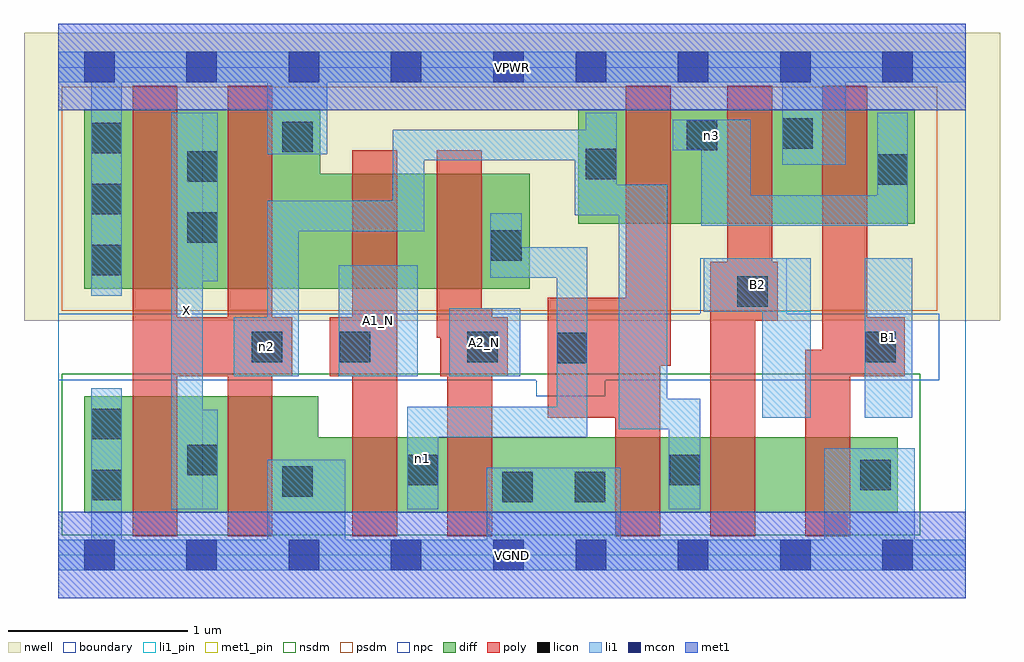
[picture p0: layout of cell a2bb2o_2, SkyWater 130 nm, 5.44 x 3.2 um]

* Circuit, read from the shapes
.subckt a2bb2o_2 A1_N A2_N B1 B2 VGND VPWR X n1 n2 n3
XM1 X n2 VGND VSUBS sky130_fd_pr__nfet_01v8 w=0.65 l=0.25 m=2
XM2 n1 A1_N VGND VSUBS sky130_fd_pr__nfet_01v8 w=0.42 l=0.25
XM3 VGND A2_N n1 VSUBS sky130_fd_pr__nfet_01v8 w=0.42 l=0.25
XM4 n2 n1 VGND VSUBS sky130_fd_pr__nfet_01v8 w=0.42 l=0.25
XM5 n4 B2 n2 VSUBS sky130_fd_pr__nfet_01v8 w=0.42 l=0.25
XM6 VGND B1 n4 VSUBS sky130_fd_pr__nfet_01v8 w=0.42 l=0.25
XM7 X n2 VPWR n5 sky130_fd_pr__pfet_01v8 w=1 l=0.25 m=2
XM8 n6 A1_N VPWR n5 sky130_fd_pr__pfet_01v8 w=0.64 l=0.25
XM9 n1 A2_N n6 n5 sky130_fd_pr__pfet_01v8 w=0.64 l=0.25
XM10 n3 n1 n2 n5 sky130_fd_pr__pfet_01v8 w=0.64 l=0.25
XM11 VPWR B2 n3 n5 sky130_fd_pr__pfet_01v8 w=0.64 l=0.25
XM12 n3 B1 VPWR n5 sky130_fd_pr__pfet_01v8 w=0.64 l=0.25
.ends

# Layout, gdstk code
import gdstk
lib = gdstk.Library(unit=1e-6, precision=1e-09)
def R(c, l, rs):  # rectangles x0, y0, x1, y1
    for r in rs: c.add(gdstk.rectangle(r[:2], r[2:], *l))
def A(c, l, x, y, w, h, nx, ny, dx, dy):  # array of equal rectangles
    R(c, l, [(x+i*dx, y+j*dy, x+i*dx+w, y+j*dy+h) for i in range(nx) for j in range(ny)])
nwell = (64, 20)
diff = (65, 20)
poly = (66, 20)
licon = (66, 44)
li1_pin = (67, 16)
li1 = (67, 20)
mcon = (67, 44)
met1_pin = (68, 16)
met1 = (68, 20)
nsdm = (93, 44)
psdm = (94, 20)
npc = (95, 20)
boundary = (235, 4)

a2bb2o_2 = lib.new_cell('a2bb2o_2')
R(a2bb2o_2, nwell, [(-0.19,1.305,5.25,2.91), (0,1.305,5.06,2.91)])
R(a2bb2o_2, diff, [(0.145,0.235,4.68,0.655), (0.145,0.235,1.45,0.885), (0.145,1.485,2.63,2.125), (0.145,1.485,1.46,2.485), (2.9,1.845,4.775,2.485)])
R(a2bb2o_2, poly, [(0.415,0.105,0.665,2.615), (0.945,0.105,1.195,2.615), (1.64,0.105,1.89,2.255), (2.17,0.105,2.42,1.375), (3.105,0.105,3.355,1.435), (3.635,0.105,3.885,1.635), (4.165,0.105,4.415,1.145), (2.73,0.765,3.355,1.435), (0.415,0.995,1.305,1.325), (1.515,0.995,1.89,1.325), (2.13,0.995,2.505,1.325), (4.26,0.995,4.51,2.615), (4.26,0.995,4.72,1.325), (3.165,1.055,3.415,2.615), (2.11,1.21,2.36,2.255), (3.635,1.305,4.01,1.635), (3.73,1.305,3.98,2.615)])
A(a2bb2o_2, licon, 0.185, 1.56, 0.17, 0.17, 1, 3, 0, 0.34)
R(a2bb2o_2, licon, [(2.475,0.295,2.645,0.465), (2.88,0.295,3.05,0.465), (0.185,0.305,0.355,0.475), (1.25,0.325,1.42,0.495), (4.47,0.36,4.64,0.53), (1.945,0.39,2.115,0.56), (3.41,0.39,3.58,0.56), (0.72,0.445,0.89,0.615), (0.185,0.645,0.355,0.815), (2.78,1.07,2.95,1.24), (1.08,1.075,1.25,1.245), (1.57,1.075,1.74,1.245), (2.28,1.075,2.45,1.245), (4.5,1.075,4.67,1.245), (3.785,1.385,3.955,1.555), (2.415,1.64,2.585,1.81), (0.72,1.74,0.89,1.91), (4.565,2.065,4.735,2.235), (0.72,2.08,0.89,2.25), (2.94,2.095,3.11,2.265), (1.25,2.245,1.42,2.415), (3.505,2.255,3.675,2.425), (4.035,2.265,4.205,2.435)])
R(a2bb2o_2, li1_pin, [(0.63,0.255,0.805,2.465), (4.495,0.765,4.76,1.655), (1.565,0.995,2.005,1.615), (2.18,0.995,2.575,1.375), (3.6,1.355,4.195,1.655)])
R(a2bb2o_2, li1, [(0,-0.085,5.06,0.085), (0.185,-0.085,0.355,0.93), (1.165,-0.085,1.6,0.53), (2.39,-0.085,3.135,0.485), (4.27,-0.085,4.775,0.595), (0.63,0.255,0.805,2.465), (0.63,0.255,0.89,0.81), (1.945,0.255,2.12,0.825), (3.405,0.255,3.58,0.87), (1.945,0.655,2.95,0.825), (2.78,0.655,2.95,1.715), (3.125,0.7,3.395,2.065), (3.125,0.7,3.58,0.87), (3.925,0.765,4.195,1.655), (4.495,0.765,4.76,1.655), (0.98,0.995,1.34,1.325), (1.165,0.995,1.34,1.975), (1.565,0.995,2.005,1.615), (2.18,0.995,2.575,1.375), (3.6,1.355,4.195,1.655), (0.185,1.445,0.355,2.805), (0.63,1.525,0.89,2.465), (2.41,1.545,2.95,1.715), (2.41,1.545,2.585,1.905), (1.165,1.805,2.04,1.975), (1.865,1.805,2.04,2.37), (3.585,1.835,4.735,2.005), (3.585,1.835,3.86,2.425), (4.565,1.835,4.735,2.465), (2.88,1.895,3.115,2.37), (2.88,1.895,3.395,2.065), (2.94,1.895,3.115,2.465), (4.035,2.175,4.39,2.805), (1.865,2.2,3.115,2.37), (1.165,2.235,1.5,2.805), (3.425,2.255,3.86,2.425), (0,2.635,5.06,2.805)])
A(a2bb2o_2, mcon, 0.145, -0.085, 0.17, 0.17, 5, 2, 0.57, 2.72)
A(a2bb2o_2, mcon, 2.885, -0.085, 0.17, 0.17, 4, 2, 0.57, 2.72)
R(a2bb2o_2, met1_pin, [(0,-0.24,5.06,0.24), (0,2.48,5.06,2.96)])
R(a2bb2o_2, met1, [(0,-0.24,5.06,0.24), (0,2.48,5.06,2.96)])
R(a2bb2o_2, nsdm, [(0.02,0.11,4.805,1.01)])
R(a2bb2o_2, psdm, [(0.02,1.36,4.9,2.61)])
R(a2bb2o_2, npc, [(2.665,0.885,3.05,1.345), (0,0.975,4.91,1.345), (3.58,0.975,4.06,1.655)])
R(a2bb2o_2, boundary, [(0,0,5.06,2.72)])
a2bb2o_2.add(gdstk.Label('A1_N', (1.785,1.305), layer=67, texttype=5))
a2bb2o_2.add(gdstk.Label('A2_N', (2.377,1.185), layer=67, texttype=5))
a2bb2o_2.add(gdstk.Label('B1', (4.627,1.21), layer=67, texttype=5))
a2bb2o_2.add(gdstk.Label('B2', (3.897,1.505), layer=67, texttype=5))
a2bb2o_2.add(gdstk.Label('X', (0.717,1.36), layer=67, texttype=5))
a2bb2o_2.add(gdstk.Label('n1', (2.032,0.54), layer=67, texttype=5))
a2bb2o_2.add(gdstk.Label('n2', (1.16,1.16), layer=67, texttype=5))
a2bb2o_2.add(gdstk.Label('n3', (3.642,2.34), layer=67, texttype=5))
a2bb2o_2.add(gdstk.Label('VPWR', (2.53,2.72), layer=68, texttype=5))
a2bb2o_2.add(gdstk.Label('VGND', (2.53,0), layer=68, texttype=5))
a2bb2o_2.add(gdstk.Label('A1_N', (1.785,1.305), layer=67, texttype=16))
a2bb2o_2.add(gdstk.Label('A2_N', (2.377,1.185), layer=67, texttype=16))
a2bb2o_2.add(gdstk.Label('B1', (4.627,1.21), layer=67, texttype=16))
a2bb2o_2.add(gdstk.Label('B2', (3.897,1.505), layer=67, texttype=16))
a2bb2o_2.add(gdstk.Label('X', (0.717,1.36), layer=67, texttype=16))
a2bb2o_2.add(gdstk.Label('VPWR', (2.53,2.72), layer=68, texttype=16))
a2bb2o_2.add(gdstk.Label('VGND', (2.53,0), layer=68, texttype=16))

lib.write_gds('a2bb2o_2.gds')
